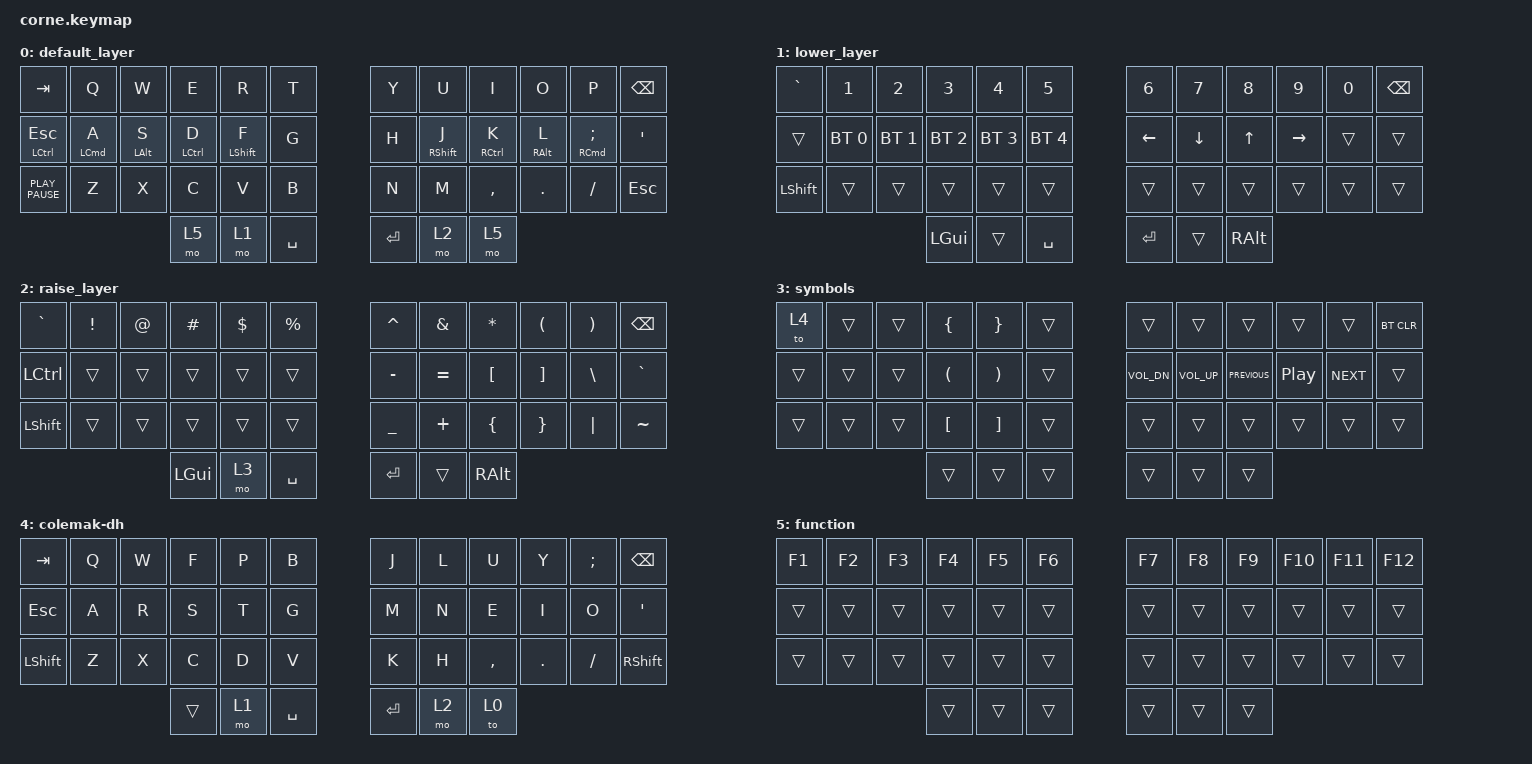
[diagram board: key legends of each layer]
/*
 * Copyright (c) 2020 The ZMK Contributors
 *
 * SPDX-License-Identifier: MIT
 */

#include <behaviors.dtsi>
#include <dt-bindings/zmk/bt.h>
#include <dt-bindings/zmk/keys.h>

/* start key definitions */
/*
  ╭────────────────────────┬────────────────────────╮ ╭─────────────────────────┬─────────────────────────╮
  │  0   1   2   3   4   5 │  6   7   8   9  10  11 │ │ LT5 LT4 LT3 LT2 LT1 LT0 │ RT0 RT1 RT2 RT3 RT4 RT5 │
  │ 12  13  14  15  16  17 │ 18  19  20  21  22  23 │ │ LM5 LM4 LM3 LM2 LM1 LM0 │ RM0 RM1 RM2 RM3 RM4 RM5 │
  │ 24  25  26  27  28  29 │ 30  31  32  33  34  35 │ │ LB5 LB4 LB3 LB2 LB1 LB0 │ RB0 RB1 RB2 RB3 RB4 RB5 │
  ╰───────────╮ 36  37  38 │ 39  40  41 ╭───────────╯ ╰───────────╮ LH2 LH1 LH0 │ RH0 RH1 RH2 ╭───────────╯
              ╰────────────┴────────────╯                         ╰─────────────┴─────────────╯             */

#define LT0  5  // left-top row
#define LT1  4
#define LT2  3
#define LT3  2
#define LT4  1
#define LT5  0
#define RT0  6  // right-top row
#define RT1  7
#define RT2  8
#define RT3  9
#define RT4 10
#define RT5 11
#define LM0 17  // left-middle row
#define LM1 16
#define LM2 15
#define LM3 14
#define LM4 13
#define LM5 12
#define RM0 18  // right-middle row
#define RM1 19
#define RM2 20
#define RM3 21
#define RM4 22
#define RM5 23
#define LB0 29  // left-bottom row
#define LB1 28
#define LB2 27
#define LB3 26
#define LB4 25
#define LB5 24
#define RB0 30  // right-bottom row
#define RB1 31
#define RB2 32
#define RB3 33
#define RB4 34
#define RB5 35
#define LH0 38  // left thumb keys
#define LH1 37
#define LH2 36
#define RH0 39  // right thumb keys
#define RH1 40
#define RH2 41
#define KEYS_L LT0 LT1 LT2 LT3 LT4 LT5 LM0 LM1 LM2 LM3 LM4 LM5 LB0 LB1 LB2 LB3 LB4 LB5  // left-hand keys
#define KEYS_R RT0 RT1 RT2 RT3 RT4 RT5 RM0 RM1 RM2 RM3 RM4 RM5 RB0 RB1 RB2 RB3 RB4 RB5  // right-hand keys
#define THUMBS LH2 LH1 LH0 RH0 RH1 RH2  // thumb keys

/ {
    behaviors {
        hmr: hmr {
            compatible = "zmk,behavior-hold-tap";
            label = "HMR";
            bindings = <&kp>, <&kp>;

            #binding-cells = <2>;
            tapping-term-ms = <250>;
            quick-tap-ms = <125>;
            hold-trigger-on-release;
            flavor = "balanced";
            hold-trigger-key-positions = <0 1 2 4 5 12 13 14 15 16 17 24 25 26 27 28 29 36 37 38 3 39 40 41>;
        };

        hml: hml {
            compatible = "zmk,behavior-hold-tap";
            label = "HML";
            bindings = <&kp>, <&kp>;

            #binding-cells = <2>;
            tapping-term-ms = <250>;
            quick-tap-ms = <125>;
            flavor = "balanced";
            hold-trigger-key-positions = <6 7 9 10 11 18 19 20 21 22 23 30 31 32 33 34 35 39 40 41 8>;
            hold-trigger-on-release;
        };
    };

    keymap {
        compatible = "zmk,keymap";

        default_layer {
            // -----------------------------------------------------------------------------------------
            // |  TAB |  Q  |  W  |  E  |  R  |  T  |   |  Y  |  U   |  I  |  O  |  P  | BKSP |
            // | CTRL |  A  |  S  |  D  |  F  |  G  |   |  H  |  J   |  K  |  L  |  ;  |  '   |
            // | SHFT |  Z  |  X  |  C  |  V  |  B  |   |  N  |  M   |  ,  |  .  |  /  | ESC  |
            //                    | GUI | LWR | SPC |   | ENT | RSE  | ALT |

            bindings = <
&kp TAB            &kp Q                &kp W            &kp E         &kp R              &kp T        &kp Y    &kp U               &kp I                 &kp O             &kp P                    &kp BSPC
&hml LCTRL ESCAPE  &hml LEFT_COMMAND A  &hml LEFT_ALT S  &hml LCTRL D  &hml LEFT_SHIFT F  &kp G        &kp H    &hmr RIGHT_SHIFT J  &hmr RIGHT_CONTROL K  &hmr RIGHT_ALT L  &hmr RIGHT_COMMAND SEMI  &kp SQT
&kp K_PLAY_PAUSE   &kp Z                &kp X            &kp C         &kp V              &kp B        &kp N    &kp M               &kp COMMA             &kp DOT           &kp FSLH                 &kp ESC
                                                         &mo 5         &mo 1              &kp SPACE    &kp RET  &mo 2               &mo 5
            >;
        };

        lower_layer {
            // -----------------------------------------------------------------------------------------
            // |  TAB |  1  |  2  |  3  |  4  |  5  |   |  6  |  7  |  8  |  9  |  0  | BKSP |
            // | BTCLR| BT1 | BT2 | BT3 | BT4 | BT5 |   | LFT | DWN |  UP | RGT |     |      |
            // | SHFT |     |     |     |     |     |   |     |     |     |     |     |      |
            //                    | GUI |     | SPC |   | ENT |     | ALT |

            bindings = <
&kp GRAVE  &kp N1        &kp N2        &kp N3        &kp N4        &kp N5          &kp N6    &kp N7    &kp N8    &kp N9     &kp N0  &kp BSPC
&trans     &bt BT_SEL 0  &bt BT_SEL 1  &bt BT_SEL 2  &bt BT_SEL 3  &bt BT_SEL 4    &kp LEFT  &kp DOWN  &kp UP    &kp RIGHT  &trans  &trans
&kp LSHFT  &trans        &trans        &trans        &trans        &trans          &trans    &trans    &trans    &trans     &trans  &trans
                                       &kp LGUI      &trans        &kp SPACE       &kp RET   &trans    &kp RALT
            >;
        };

        raise_layer {
            // -----------------------------------------------------------------------------------------
            // |  TAB |  !  |  @  |  #  |  $  |  %  |   |  ^  |  &  |  *  |  (  |  )  | BKSP |
            // | CTRL |     |     |     |     |     |   |  -  |  =  |  [  |  ]  |  \  |  `   |
            // | SHFT |     |     |     |     |     |   |  _  |  +  |  {  |  }  | "|" |  ~   |
            //                    | GUI |     | SPC |   | ENT |     | ALT |

            bindings = <
&kp GRAVE  &kp EXCL  &kp AT  &kp HASH  &kp DLLR  &kp PRCNT    &kp CARET  &kp AMPS   &kp ASTRK  &kp LPAR  &kp RPAR  &kp BSPC
&kp LCTRL  &trans    &trans  &trans    &trans    &trans       &kp MINUS  &kp EQUAL  &kp LBKT   &kp RBKT  &kp BSLH  &kp GRAVE
&kp LSHFT  &trans    &trans  &trans    &trans    &trans       &kp UNDER  &kp PLUS   &kp LBRC   &kp RBRC  &kp PIPE  &kp TILDE
                             &kp LGUI  &mo 3     &kp SPACE    &kp RET    &trans     &kp RALT
            >;
        };

        symbols {
            bindings = <
&to 4   &trans  &trans  &kp LEFT_BRACE        &kp RIGHT_BRACE        &trans    &trans        &trans           &trans          &trans            &trans      &bt BT_CLR
&trans  &trans  &trans  &kp LEFT_PARENTHESIS  &kp RIGHT_PARENTHESIS  &trans    &kp C_VOL_DN  &kp C_VOLUME_UP  &kp C_PREVIOUS  &kp C_PLAY_PAUSE  &kp C_NEXT  &trans
&trans  &trans  &trans  &kp LEFT_BRACKET      &kp RIGHT_BRACKET      &trans    &trans        &trans           &trans          &trans            &trans      &trans
                        &trans                &trans                 &trans    &trans        &trans           &trans
            >;
        };

        colemak-dh {
            bindings = <
&kp TAB         &kp Q  &kp W  &kp F   &kp P  &kp B        &kp J      &kp L  &kp U      &kp Y    &kp SEMI  &kp BACKSPACE
&kp ESCAPE      &kp A  &kp R  &kp S   &kp T  &kp G        &kp M      &kp N  &kp E      &kp I    &kp O     &kp SINGLE_QUOTE
&kp LEFT_SHIFT  &kp Z  &kp X  &kp C   &kp D  &kp V        &kp K      &kp H  &kp COMMA  &kp DOT  &kp FSLH  &kp RIGHT_SHIFT
                              &trans  &mo 1  &kp SPACE    &kp ENTER  &mo 2  &to 0
            >;
        };

        function {
            bindings = <
&kp F1  &kp F2  &kp F3  &kp F4  &kp F5  &kp F6    &kp F7  &kp F8  &kp F9  &kp F10  &kp F11  &kp F12
&trans  &trans  &trans  &trans  &trans  &trans    &trans  &trans  &trans  &trans   &trans   &trans
&trans  &trans  &trans  &trans  &trans  &trans    &trans  &trans  &trans  &trans   &trans   &trans
                        &trans  &trans  &trans    &trans  &trans  &trans
            >;
        };
    };
};
